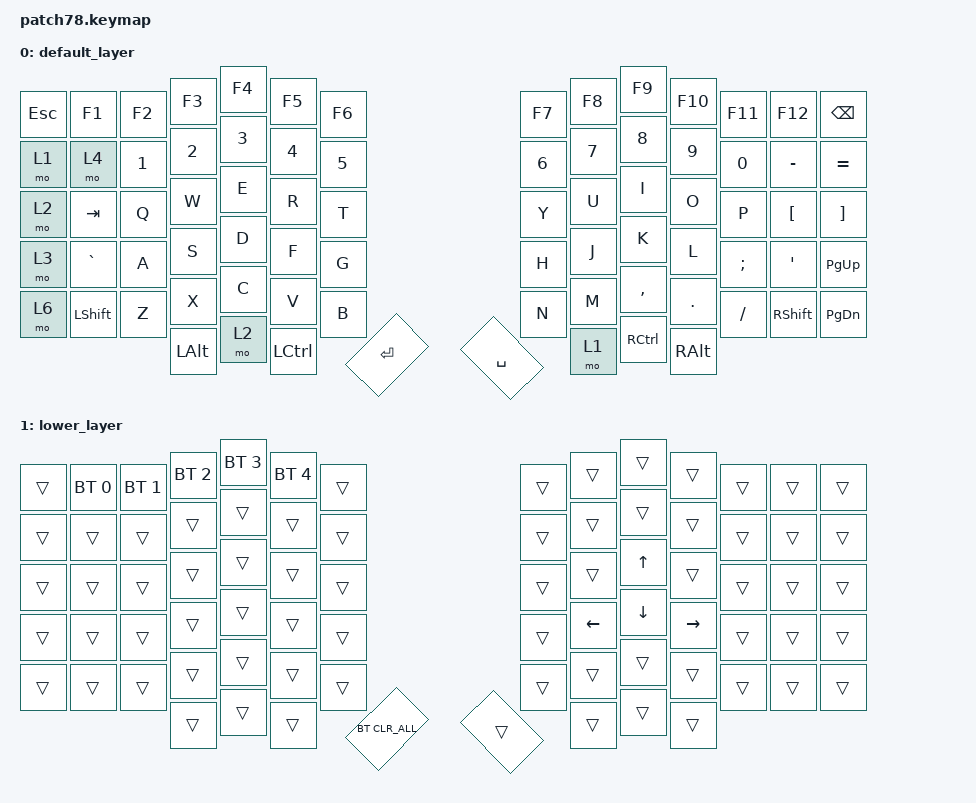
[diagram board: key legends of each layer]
/*
 * Copyright (c) 2025 The ZMK Contributors
 *
 * SPDX-License-Identifier: MIT
 */

#include <behaviors.dtsi>
#include <dt-bindings/zmk/bt.h>
#include <dt-bindings/zmk/keys.h>

/ {
    keymap {
        compatible = "zmk,keymap";

        default_layer {
            // ------------------------------------------------------------------------------------------------------------
            // |  ESC    |  F1   |  F2 |  F3 |  F4  |  F5  |  F6    |  |  F7   |  F8   |  F9   |  F10 |  F11  |  F12  |  DEL |
            // |  TAB    |  PGUP |  1  |  2  |  3   |  4   |  5     |  |  6    |  7    |  8    |  9   |   0   |   -   |  =   |
            // |  RAISE  |  PGDN |  Q  |  W  |  E   |  R   |  T     |  |  Y    |  U    |  I    |  O   |   P   |   ^   |  v   |
            // |  LOWER  |  HOME |  A  |  S  |  D   |  F   |  G     |  |  H    |  J    |  K    |  L   |   ;   |   <-  |  ->  |
            // |   FN    | SHIFT |  Z  |  X  |  C   |  V   |  B     |  |  N    |  M    |  ,    |  .   |   /   | {     |   }  |
            //                         | ALT | CTRL | GUI  |  SPACE |  | ENTER |   GUI |  CTRL | ALT  |

            bindings = <
&kp ESC  &kp F1                &kp F2                &kp F3            &kp F4         &kp F5         &kp F6       &kp F7      &kp F8            &kp F9         &kp F10               &kp F11       &kp F12           &kp BACKSPACE
&mo 1    &mo 4                 &kp N1                &kp N2            &kp N3         &kp N4         &kp N5       &kp N6      &kp N7            &kp N8         &kp N9                &kp N0        &kp MINUS         &kp EQUAL
&mo 2    &kp TAB               &kp Q                 &kp W             &kp E          &kp R          &kp T        &kp Y       &kp U             &kp I          &kp O                 &kp P         &kp LEFT_BRACKET  &kp RIGHT_BRACKET
&mo 3    &kp GRAVE             &kp A                 &kp S             &kp D          &kp F          &kp G        &kp H       &kp J             &kp K          &kp L                 &kp SEMI      &kp SINGLE_QUOTE  &kp PG_UP
&mo 6    &kp LSHIFT            &kp Z                 &kp X             &kp C          &kp V          &kp B        &kp N       &kp M             &kp COMMA      &kp DOT               &kp FSLH      &kp RSHFT         &kp PG_DN
                                                     &kp LALT          &mo 2          &kp LCTRL      &kp RET      &kp SPACE   &mo 1             &kp RCTRL      &kp RALT
            >;
        };

        lower_layer {
            bindings = <
&trans  &bt BT_SEL 0  &bt BT_SEL 1  &bt BT_SEL 2  &bt BT_SEL 3  &bt BT_SEL 4  &trans          &trans  &trans  &trans  &trans  &trans  &trans  &trans
&trans  &trans        &trans        &trans        &trans        &trans        &trans          &trans  &trans  &trans  &trans  &trans  &trans  &trans
&trans  &trans        &trans        &trans        &trans        &trans        &trans          &trans  &trans  &kp UP  &trans  &trans  &trans  &trans
&trans  &trans        &trans        &trans        &trans        &trans        &trans          &trans  &kp LEFT  &kp DOWN  &kp RIGHT  &trans  &trans  &trans
&trans  &trans        &trans        &trans        &trans        &trans        &trans          &trans  &trans  &trans  &trans  &trans  &trans  &trans
                                    &trans        &trans        &trans        &bt BT_CLR_ALL  &trans  &trans  &trans  &trans
            >;
        };
    };
};
